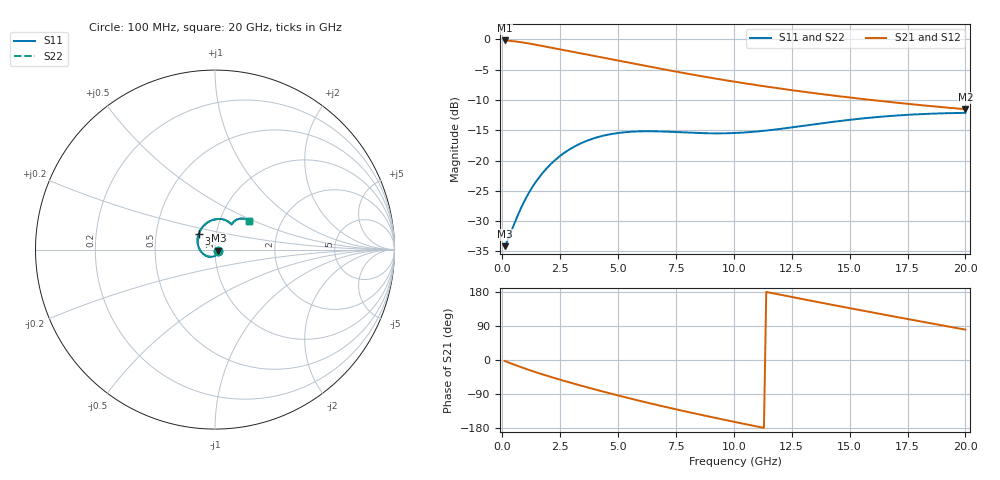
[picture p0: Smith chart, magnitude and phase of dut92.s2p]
! Touchstone file exported from HFSS 2023.1.0
!  File:  D:/Users/fzz/RDL_TSV/temp_RDL_TSV_92_1778748428.aedt
!  Generated:  4:56:35 %x4E0B%x5348  5%x6708 14, 2026
!  Design:  RDL_TSV
!  Project:  temp_RDL_TSV_92_1778748428
!  Setup:  Setup1
!  Solution:  Sweep
! Variables:
!  dtsv = 15.47um
!  hbump = 3um
!  htsv = 80.12um
!  ldown = 530.84um
!  lrdl = 608.27um
!  p = 40
!  p1 = 41.98um
!  rhole = 10um
!  subl = 4025.6um
!  t = 450um
!  tdown = 2.81um
!  trdl = 3.47um
!  viad = 10um
!  wdown = 21.32um
!  wrdl = 26um
!  xbump = 18um
# GHz S MA R 50.000000
! Terminal data exported
! Port[1] = TM1_1_T1
! Port[2] = TM1_4_T1
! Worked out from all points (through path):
!   200 points, 100 MHz to 20 GHz, reference 50 ohm
!   highest |S21| = -0.18 dB at 100 MHz (marker M1); lowest = -11.5 dB at 20 GHz (marker M2)
!   group delay of S21, straight-line fit = 37.1 ps
!   lowest |S11| = -34.1 dB at 100 MHz (marker M3), VSWR 1.04, Z = 51.9 - j0.53 ohm
!   |S11| at or under -10 dB: start of sweep to end of sweep
!   |S22| runs from -34.1 to -12.1 dB; largest |S21 - S12| = 1.1e-14
!   S11 on the Smith chart (normalised r, x): 100 MHz: 1.04, -0.01; 3 GHz: 0.82, +0.15; 20 GHz: 1.37, +0.47
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0.1  0.01967 -15.0  0.9799 -2.5  0.9799 -2.5  0.01967 -15.0
! Gamma 0 0 0 0
! Port Impedance 50 0 50 0
0.5  0.02954 -72.9  0.9652 -11.9  0.9652 -11.9  0.02954 -72.9
0.9  0.04413 -115.0  0.9424 -20.8  0.9424 -20.8  0.04412 -114.9
1.4  0.06469 -152.6  0.9069 -31.3  0.9069 -31.3  0.06464 -152.5
1.8  0.08152 -175.7  0.877 -39.1  0.877 -39.1  0.08141 -175.6
2.2  0.09783 165.3  0.8476 -46.6  0.8476 -46.6  0.09767 165.4
3  0.1269 135.6  0.7923 -60.8  0.7923 -60.8  0.1266 135.7
3.5  0.1417 121.1  0.7599 -69.3  0.7599 -69.3  0.1413 121.2
4.3  0.1594 102.4  0.7105 -82.5  0.7105 -82.5  0.1589 102.5
5.2  0.1707 86.3  0.6582 -96.7  0.6582 -96.7  0.17 86.4
6  0.1744 75.5  0.6147 -108.7  0.6147 -108.7  0.1736 75.6
6.8  0.174 67.6  0.5745 -120.3  0.5745 -120.3  0.1732 67.7
7.6  0.1716 62.1  0.5379 -131.5  0.5379 -131.5  0.1708 62.3
8.4  0.169 58.7  0.5048 -142.3  0.5048 -142.3  0.1683 59.0
9.2  0.1677 57.0  0.4751 -152.8  0.4751 -152.8  0.1671 57.3
10.1  0.1691 56.4  0.4453 -164.2  0.4453 -164.2  0.1686 56.8
11.6  0.1787 56.3  0.4029 177.2  0.4029 177.2  0.1784 56.7
13.4  0.1983 55.0  0.3616 155.6  0.3616 155.6  0.1982 55.2
15  0.2169 52.0  0.3316 136.8  0.3316 136.8  0.2169 52.3
16.7  0.233 47.9  0.3049 117.3  0.3049 117.3  0.233 48.1
18.3  0.2428 43.9  0.284 99.2  0.284 99.2  0.2427 44.1
20  0.2477 40.2  0.2654 80.1  0.2654 80.1  0.2475 40.4
